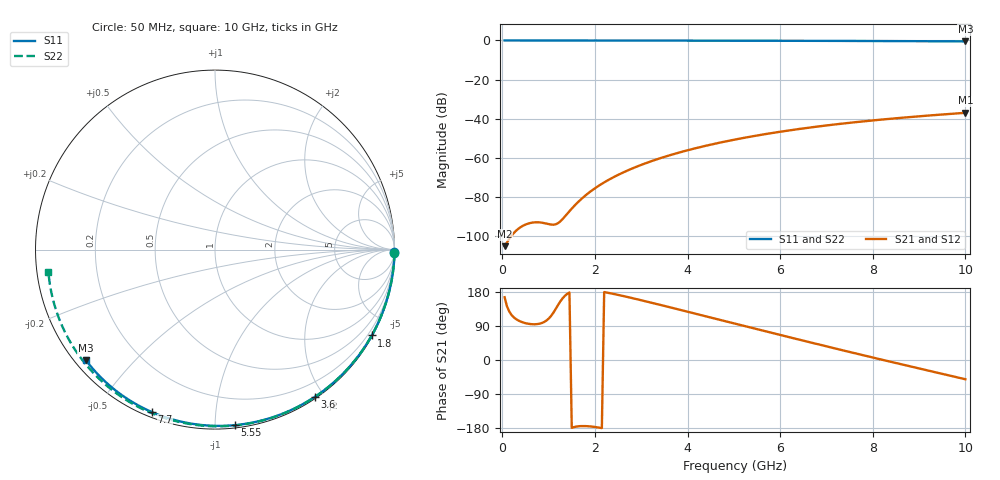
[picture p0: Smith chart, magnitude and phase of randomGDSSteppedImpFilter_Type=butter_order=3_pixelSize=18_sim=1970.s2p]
! freq	dB(S11)	phase(S11)	dB(S12)	phase(S12)
!  dB(S21)	phase(S21)	dB(S22)	phase(S22)
!S-par simulation data
#  GHz  S  DB  R 50
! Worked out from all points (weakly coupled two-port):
!   200 points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, 50 MHz to 10 GHz, reference 50 ohm
!   highest |S21| = -36.95 dB at 10 GHz (marker M1); lowest = -105.1 dB at 50 MHz (marker M2)
!   lowest |S11| = -0.5 dB at 10 GHz (marker M3), VSWR 36.81, Z = 1.54 - j18.5 ohm
!   |S11| at or under -10 dB: nowhere
!   |S22| runs from -0.6 to 0.0 dB; largest |S21 - S12| = 0
!   S11 on the Smith chart (normalised r, x): 50 MHz: open; 1.8 GHz: 0.03, -3.91; 3.6 GHz: 0.02, -1.88; 5.55 GHz: 0.02, -1.12; 7.7 GHz: 0.02, -0.68; 10 GHz: 0.03, -0.37
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0.05  -0.00 -0.8  -105.06 165.7  -105.06 165.7  -0.00 -1.0
0.45  -0.01 -7.3  -94.59 99.0  -94.59 99.0  -0.01 -9.0
0.85  -0.02 -13.7  -93.03 97.4  -93.03 97.4  -0.02 -16.8
1.3  -0.03 -20.8  -91.29 162.4  -91.29 162.4  -0.03 -25.6
1.75  -0.04 -27.9  -80.06 -174.3  -80.06 -174.3  -0.04 -34.3
1.8  -0.04 -28.7  -79.07 -174.4  -79.07 -174.4  -0.04 -35.2
1.95  -0.04 -31.0  -76.34 -176.0  -76.34 -176.0  -0.05 -38.1
2.1  -0.04 -33.3  -73.94 -178.6  -73.94 -178.6  -0.05 -40.9
2.3  -0.05 -36.4  -71.13 177.0  -71.13 177.0  -0.06 -44.7
2.5  -0.05 -39.5  -68.66 171.9  -68.66 171.9  -0.06 -48.4
2.9  -0.06 -45.6  -64.47 160.7  -64.47 160.7  -0.07 -55.8
3.4  -0.07 -53.0  -60.22 145.8  -60.22 145.8  -0.09 -64.8
3.6  -0.08 -56.0  -58.74 139.7  -58.74 139.7  -0.09 -68.4
4.3  -0.09 -66.1  -54.31 118.2  -54.31 118.2  -0.11 -80.6
5.05  -0.12 -76.6  -50.49 95.2  -50.49 95.2  -0.14 -93.2
5.55  -0.14 -83.4  -48.34 79.9  -48.34 79.9  -0.17 -101.4
6.1  -0.16 -90.8  -46.26 63.1  -46.26 63.1  -0.20 -110.3
6.7  -0.19 -98.6  -44.29 45.0  -44.29 45.0  -0.23 -119.8
7.7  -0.26 -111.3  -41.55 15.3  -41.55 15.3  -0.31 -135.5
8.35  -0.31 -119.3  -40.05 -3.7  -40.05 -3.7  -0.37 -145.7
9.2  -0.39 -129.7  -38.35 -28.0  -38.35 -28.0  -0.47 -159.2
10  -0.47 -139.4  -36.95 -50.8  -36.95 -50.8  -0.57 -172.3
